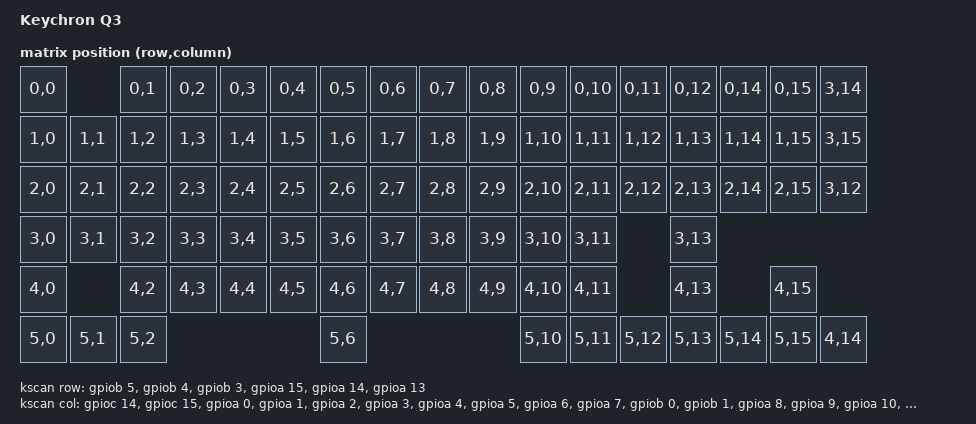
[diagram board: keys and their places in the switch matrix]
/*
 * Copyright (c) 2022-2023 XiNGRZ
 * SPDX-License-Identifier: MIT
 */

/dts-v1/;
#include <freq.h>
#include <mem.h>
#include <st/l4/stm32l432.dtsi>
#include <st/l4/stm32l432k(b-c)ux-pinctrl.dtsi>
#include <dt-bindings/zmk/matrix_transform.h>
#include <dt-bindings/zmk/ckled2001.h>

/ {
	model = "Keychron Q3";
	compatible = "keychron,q3";

	chosen {
		zephyr,code-partition = &code_partition;
		zephyr,sram = &sram0;
		zephyr,flash = &flash0;
		zmk,kscan = &kscan;
		zmk,matrix_transform = &default_transform;
		zmk,underglow = &led_strip;
	};

  /*
	sensors {
		compatible = "zmk,keymap-sensors";
		sensors = <&encoder>;
	};
*/

  /*
	gpio_ex: sn74hc595 {
		compatible = "ti,sn74hc595-bitbang";
		gpio-controller;
		#gpio-cells = <2>;
		ser-gpios = <&gpioa 7 0>;
		srclk-gpios = <&gpiob 1 0>;
		rclk-gpios = <&gpiob 0 0>;
	};
  */

  /* From qmk keyboards/keychron/q3/ansi/info.json
     "rows": ["B5", "B4", "B3", "A15", "A14", "A13"],
     "cols": ["C14", "C15", "A0", "A1", "A2", "A3", "A4", "A5", "A6", "A7", "B0", "B1", "A8", "A9", "A10", "H3"]
  */

	kscan: kscan {
		compatible = "zmk,kscan-gpio-matrix";

		diode-direction = "col2row";
		col-gpios = <&gpioc 14  GPIO_ACTIVE_LOW>,
		            <&gpioc 15  GPIO_ACTIVE_LOW>,
		            <&gpioa  0  GPIO_ACTIVE_LOW>,
		            <&gpioa  1  GPIO_ACTIVE_LOW>,
		            <&gpioa  2  GPIO_ACTIVE_LOW>,
		            <&gpioa  3  GPIO_ACTIVE_LOW>,
		            <&gpioa  4  GPIO_ACTIVE_LOW>,
		            <&gpioa  5  GPIO_ACTIVE_LOW>,
		            <&gpioa  6  GPIO_ACTIVE_LOW>,
		            <&gpioa  7  GPIO_ACTIVE_LOW>,
		            <&gpiob  0  GPIO_ACTIVE_LOW>,
		            <&gpiob  1  GPIO_ACTIVE_LOW>,
		            <&gpioa  8  GPIO_ACTIVE_LOW>,
		            <&gpioa  9  GPIO_ACTIVE_LOW>,
		            <&gpioa  10 GPIO_ACTIVE_LOW>,
		            <&gpioh  3  GPIO_ACTIVE_LOW>;
		row-gpios = <&gpiob  5 (GPIO_ACTIVE_LOW | GPIO_PULL_UP)>,
		            <&gpiob  4 (GPIO_ACTIVE_LOW | GPIO_PULL_UP)>,
		            <&gpiob  3 (GPIO_ACTIVE_LOW | GPIO_PULL_UP)>,
		            <&gpioa 15 (GPIO_ACTIVE_LOW | GPIO_PULL_UP)>,
		            <&gpioa 14 (GPIO_ACTIVE_LOW | GPIO_PULL_UP)>,
		            <&gpioa 13 (GPIO_ACTIVE_LOW | GPIO_PULL_UP)>;
	};

  /* TODO(ibash) this */
	default_transform: keymap_transform {
		compatible = "zmk,matrix-transform";
		columns = <16>;
		rows = <6>;
    /* ref: keyboard/keychron/q3/ansi/info.json */
		map = <
			RC(0,0)         RC(0,1) RC(0,2) RC(0,3) RC(0,4) RC(0,5) RC(0,6) RC(0,7) RC(0,8) RC(0,9)  RC(0,10) RC(0,11) RC(0,12) RC(0,14) RC(0,15) RC(3,14)
			RC(1,0) RC(1,1) RC(1,2) RC(1,3) RC(1,4) RC(1,5) RC(1,6) RC(1,7) RC(1,8) RC(1,9) RC(1,10) RC(1,11) RC(1,12) RC(1,13) RC(1,14) RC(1,15) RC(3,15)
			RC(2,0) RC(2,1) RC(2,2) RC(2,3) RC(2,4) RC(2,5) RC(2,6) RC(2,7) RC(2,8) RC(2,9) RC(2,10) RC(2,11) RC(2,12) RC(2,13) RC(2,14) RC(2,15) RC(3,12)
			RC(3,0) RC(3,1) RC(3,2) RC(3,3) RC(3,4) RC(3,5) RC(3,6) RC(3,7) RC(3,8) RC(3,9) RC(3,10) RC(3,11)          RC(3,13)
			RC(4,0)         RC(4,2) RC(4,3) RC(4,4) RC(4,5) RC(4,6) RC(4,7) RC(4,8) RC(4,9) RC(4,10) RC(4,11)          RC(4,13)          RC(4,15)
			RC(5,0) RC(5,1) RC(5,2)                         RC(5,6)                         RC(5,10) RC(5,11) RC(5,12) RC(5,13) RC(5,14) RC(5,15) RC(4,14)
		>;
	};

  /*
	encoder: encoder {
		compatible = "alps,ec11";
		label = "ENCODER";
		a-gpios = <&gpioa 10 (GPIO_ACTIVE_LOW | GPIO_PULL_UP)>;
		b-gpios = <&gpioa 8 (GPIO_ACTIVE_LOW | GPIO_PULL_UP)>;
	};
  */

	led_strip: led-strip-composite {
		compatible = "zmk,led-strip-composite";

		chain-length = <87>;

		strip-0 {
			led-strip = <&led_strip_0>;
		};

		strip-1 {
			led-strip = <&led_strip_1>;
		};
	};
};

&clk_hsi {
	status = "okay";
};

&pll {
	div-m = <1>;
	mul-n = <10>;
	div-p = <7>;
	div-q = <2>;
	div-r = <2>;
	clocks = <&clk_hsi>;
	status = "okay";
};

&rcc {
	clocks = <&pll>;
	clock-frequency = <DT_FREQ_M(80)>;
	ahb-prescaler = <1>;
	apb1-prescaler = <1>;
	apb2-prescaler = <1>;
};

/** TODO(ibash) probably worth double checking this... assuming that the q1v2
* and q3 are basically the same **/
&sram0 {
	reg = <0x20000000 DT_SIZE_K(48)>;
};

&flash0 {
	reg = <0x8000000 DT_SIZE_K(128)>;

	partitions {
		compatible = "fixed-partitions";
		#address-cells = <1>;
		#size-cells = <1>;

		code_partition: partition@0 {
			label = "code_partition";
			reg = <DT_SIZE_K(0) DT_SIZE_K(124)>;
		};

		storage_partition: partition@1f000 {
			label = "storage";
			reg = <DT_SIZE_K(124) DT_SIZE_K(4)>;
		};
	};
};

&usb {
	status = "okay";
};

/* ref: q3/ansi/ansi.c */
&i2c1 {
  /* TODO(ibash) check pin for led */
	pinctrl-0 = <&i2c1_scl_pb6 &i2c1_sda_pb7>;
	pinctrl-names = "default";
	status = "okay";

	clock-frequency = <DT_FREQ_K(400)>;

	led_strip_0: ckled2001@77 {
		compatible = "keychron,ckled2001";

    /* TODO(ibash) check register here */
		reg = <0x77>;
		chain-length = <47>;
		#led-strip-cells = <0>;

    /* NOTE(ibash) these values are 1 less than the qmk counterparts (0-indexed
       here, 1-indexed in qmk) */
		map = <
			/* ROW 0 */
			/* R        G        B */
      CK(8,0)  CK(6,0)  CK(7,0)
      CK(8,1)  CK(6,1)  CK(7,1)
      CK(8,2)  CK(6,2)  CK(7,2)
      CK(8,3)  CK(6,3)  CK(7,3)
      CK(8,4)  CK(6,4)  CK(7,4)
      CK(8,5)  CK(6,5)  CK(7,5)
      CK(8,6)  CK(6,6)  CK(7,6)
      CK(8,7)  CK(6,7)  CK(7,7)
      CK(8,8)  CK(6,8)  CK(7,8)
      CK(8,9)  CK(6,9)  CK(7,9)
      CK(8,10) CK(6,10) CK(7,10)
      CK(8,11) CK(6,11) CK(7,11)
      CK(8,12) CK(6,12) CK(7,12)
      CK(8,14) CK(6,14) CK(7,14)
      CK(8,15) CK(6,15) CK(7,15)

      /* TODO(ibash) end of row 1 is on the other driver...
      {1, CB9_CA15,   CB7_CA15,   CB8_CA15},*/

			/* ROW 1 */
			/* R        G        B */
      CK(2,0)  CK(0,0)  CK(1,0)
      CK(2,1)  CK(0,1)  CK(1,1)
      CK(2,2)  CK(0,2)  CK(1,2)
      CK(2,3)  CK(0,3)  CK(1,3)
      CK(2,4)  CK(0,4)  CK(1,4)
      CK(2,5)  CK(0,5)  CK(1,5)
      CK(2,6)  CK(0,6)  CK(1,6)
      CK(2,7)  CK(0,7)  CK(1,7)
      CK(2,8)  CK(0,8)  CK(1,8)
      CK(2,9)  CK(0,9)  CK(1,9)
      CK(2,10) CK(0,10) CK(1,10)
      CK(2,11) CK(0,11) CK(1,11)
      CK(2,12) CK(0,12) CK(1,12)
      CK(2,13) CK(0,13) CK(1,13)
      CK(2,14) CK(0,14) CK(1,14)
      CK(2,15) CK(0,15) CK(1,15)

      /* TODO(ibash) this {1, CB9_CA16,   CB7_CA16,   CB8_CA16}, */

			/* ROW 2 */
			/* R        G        B */
      CK(5,0)  CK(3,0)  CK(4,0)
      CK(5,1)  CK(3,1)  CK(4,1)
      CK(5,2)  CK(3,2)  CK(4,2)
      CK(5,3)  CK(3,3)  CK(4,3)
      CK(5,4)  CK(3,4)  CK(4,4)
      CK(5,5)  CK(3,5)  CK(4,5)
      CK(5,6)  CK(3,6)  CK(4,6)
      CK(5,7)  CK(3,7)  CK(4,7)
      CK(5,8)  CK(3,8)  CK(4,8)
      CK(5,9)  CK(3,9)  CK(4,9)
      CK(5,10) CK(3,10) CK(4,10)
      CK(5,11) CK(3,11) CK(4,11)
      CK(5,12) CK(3,12) CK(4,12)
      CK(5,13) CK(3,13) CK(4,13)
      CK(5,14) CK(3,14) CK(4,14)
      CK(5,15) CK(3,15) CK(4,15)

      /* TODO(ibash) this {1, CB9_CA13,   CB7_CA13,   CB8_CA13},*/
		>;
	};

	led_strip_1: ckled2001@74 {
		compatible = "keychron,ckled2001";

		reg = <0x74>;
		chain-length = <40>;
		#led-strip-cells = <0>;

		map = <
			/* ROW 3 */
			/* R        G        B */
      CK(8,0)  CK(6,0)  CK(7,0)
      CK(8,1)  CK(6,1)  CK(7,1)
      CK(8,2)  CK(6,2)  CK(7,2)
      CK(8,3)  CK(6,3)  CK(7,3)
      CK(8,4)  CK(6,4)  CK(7,4)
      CK(8,5)  CK(6,5)  CK(7,5)
      CK(8,6)  CK(6,6)  CK(7,6)
      CK(8,7)  CK(6,7)  CK(7,7)
      CK(8,8)  CK(6,8)  CK(7,8)
      CK(8,9)  CK(6,9)  CK(7,9)
      CK(8,10) CK(6,10) CK(7,10)
      CK(8,11) CK(6,11) CK(7,11)
      CK(8,13) CK(6,13) CK(7,13)

			/* ROW 4 */
			/* R        G        B */
      CK(2,0)  CK(0,0)   CK(1,0)
      CK(2,2)  CK(0,2)   CK(1,2)
      CK(2,3)  CK(0,3)   CK(1,3)
      CK(2,4)  CK(0,4)   CK(1,4)
      CK(2,5)  CK(0,5)   CK(1,5)
      CK(2,6)  CK(0,6)   CK(1,6)
      CK(2,7)  CK(0,7)   CK(1,7)
      CK(2,8)  CK(0,8)   CK(1,8)
      CK(2,9)  CK(0,9)   CK(1,9)
      CK(2,10) CK(0,10)  CK(1,10)
      CK(2,11) CK(0,11)  CK(1,11)
      CK(2,13) CK(0,13)  CK(1,13)
      CK(2,15) CK(0,15)  CK(1,15)

			/* ROW 5 */
			/* R        G        B */
      CK(5,0)  CK(3,0)  CK(4,0)
      CK(5,1)  CK(3,1)  CK(4,1)
      CK(5,2)  CK(3,2)  CK(4,2)
      CK(5,6)  CK(3,6)  CK(4,6)
      CK(5,10) CK(3,10) CK(4,10)
      CK(5,11) CK(3,11) CK(4,11)
      CK(5,12) CK(3,12) CK(4,12)
      CK(5,13) CK(3,13) CK(4,13)
      CK(5,14) CK(3,14) CK(4,14)
      CK(5,15) CK(3,15) CK(4,15)
      CK(2,14) CK(0,14) CK(1,14)

      /* Last 3 LEDS from the first strip i.e. these guys in qmk:
         {1, CB9_CA15,   CB7_CA15,   CB8_CA15},
         {1, CB9_CA16,   CB7_CA16,   CB8_CA16}, 
         {1, CB9_CA13,   CB7_CA13,   CB8_CA13},

         Definitely introducing a bug by putting them here, but need to figure
         out the right spot.
      */

			/* R        G        B */
      CK(8,14) CK(6,14) CK(7,14)
      CK(8,15) CK(6,15) CK(7,15) 
      CK(8,12) CK(6,12) CK(7,12)
		>;
	};
};
